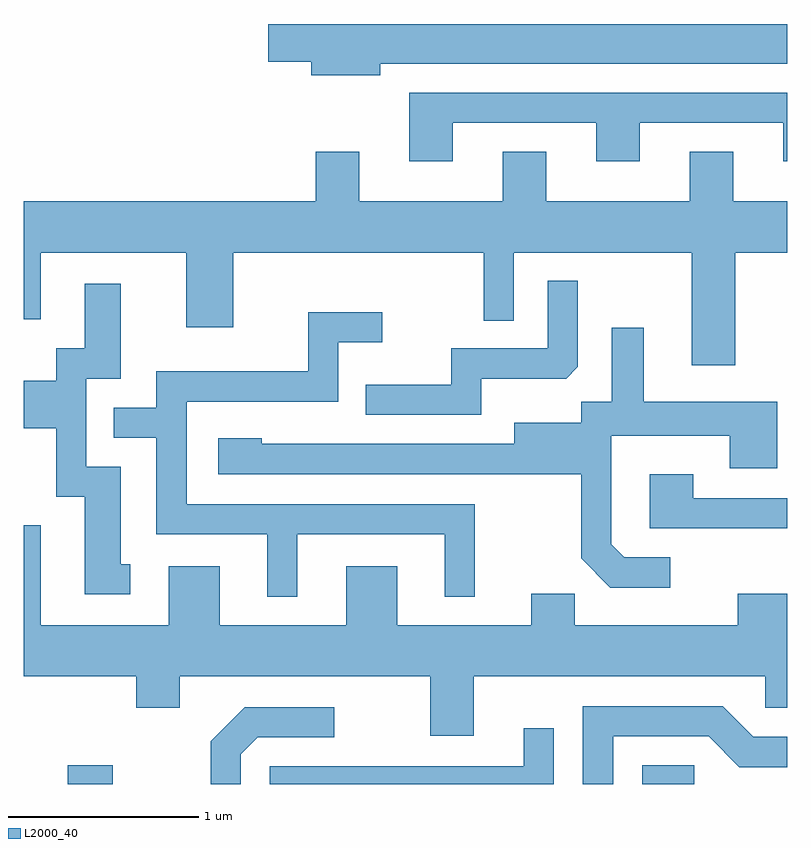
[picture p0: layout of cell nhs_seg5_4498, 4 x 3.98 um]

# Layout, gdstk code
import gdstk
lib = gdstk.Library(unit=1e-6, precision=1e-09)
def R(c, l, rs):  # rectangles x0, y0, x1, y1
    for r in rs: c.add(gdstk.rectangle(r[:2], r[2:], *l))
def P(c, l, *ps):  # polygons
    for p in ps: c.add(gdstk.Polygon(p, *l))
L2000_40 = (2000, 40)

nhs_seg5_4498 = lib.new_cell('nhs_seg5_4498')
R(nhs_seg5_4498, L2000_40, [(319.841,1394.072,320.078,1394.169), (322.851,1394.072,323.123,1394.169)])
P(nhs_seg5_4498, L2000_40, [(321.479,1397.846),(323.611,1397.846),(323.611,1398.054),(320.891,1398.054),(320.891,1397.856),(321.116,1397.856),(321.116,1397.786),(321.479,1397.786)],
  [(321.859,1397.536),(322.611,1397.536),(322.611,1397.336),(322.839,1397.336),(322.839,1397.536),(323.591,1397.536),(323.591,1397.336),(323.611,1397.336),(323.611,1397.694),(321.631,1397.694),(321.631,1397.336),(321.859,1397.336)],
  [(323.339,1396.856),(323.611,1396.856),(323.611,1397.124),(323.329,1397.124),(323.329,1397.384),(323.101,1397.384),(323.101,1397.124),(322.349,1397.124),(322.349,1397.384),(322.121,1397.384),(322.121,1397.124),(321.369,1397.124),(321.369,1397.384),(321.141,1397.384),(321.141,1397.124),(319.611,1397.124),(319.611,1396.506),(319.699,1396.506),(319.699,1396.856),(320.461,1396.856),(320.461,1396.466),(320.709,1396.466),(320.709,1396.856),(322.021,1396.856),(322.021,1396.498),(322.179,1396.498),(322.179,1396.856),(323.111,1396.856),(323.111,1396.266),(323.339,1396.266)],
  [(322.009,1396.196),(322.454,1396.196),(322.514,1396.257),(322.514,1396.708),(322.356,1396.708),(322.356,1396.354),(321.851,1396.354),(321.851,1396.164),(321.403,1396.164),(321.403,1396.006),(322.009,1396.006)],
  [(320.168,1395.224),(320.119,1395.224),(320.119,1395.734),(319.939,1395.734),(319.939,1396.196),(320.119,1396.196),(320.119,1396.694),(319.931,1396.694),(319.931,1396.354),(319.781,1396.354),(319.781,1396.184),(319.611,1396.184),(319.611,1395.936),(319.781,1395.936),(319.781,1395.576),(319.931,1395.576),(319.931,1395.066),(320.168,1395.066)],
  [(321.044,1395.381),(321.816,1395.381),(321.816,1395.053),(321.974,1395.053),(321.974,1395.539),(320.464,1395.539),(320.464,1396.076),(321.259,1396.076),(321.259,1396.386),(321.488,1396.386),(321.488,1396.544),(321.101,1396.544),(321.101,1396.234),(320.306,1396.234),(320.306,1396.044),(320.083,1396.044),(320.083,1395.886),(320.306,1395.886),(320.306,1395.381),(320.886,1395.381),(320.886,1395.053),(321.044,1395.053)],
  [(322.998,1395.259),(322.757,1395.259),(322.689,1395.327),(322.689,1395.896),(323.311,1395.896),(323.311,1395.726),(323.559,1395.726),(323.559,1396.074),(322.859,1396.074),(322.859,1396.463),(322.691,1396.463),(322.691,1396.074),(322.531,1396.074),(322.531,1395.964),(322.181,1395.964),(322.181,1395.854),(320.859,1395.854),(320.859,1395.884),(320.631,1395.884),(320.631,1395.696),(322.531,1395.696),(322.531,1395.254),(322.684,1395.101),(322.998,1395.101)],
  [(323.611,1395.569),(323.119,1395.569),(323.119,1395.694),(322.891,1395.694),(322.891,1395.411),(323.611,1395.411)],
  [(321.969,1394.636),(323.496,1394.636),(323.496,1394.471),(323.611,1394.471),(323.611,1395.069),(323.351,1395.069),(323.351,1394.904),(322.499,1394.904),(322.499,1395.069),(322.271,1395.069),(322.271,1394.904),(321.569,1394.904),(321.569,1395.214),(321.301,1395.214),(321.301,1394.904),(320.639,1394.904),(320.639,1395.214),(320.371,1395.214),(320.371,1394.904),(319.699,1394.904),(319.699,1395.429),(319.611,1395.429),(319.611,1394.636),(320.201,1394.636),(320.201,1394.471),(320.429,1394.471),(320.429,1394.636),(321.741,1394.636),(321.741,1394.326),(321.969,1394.326)],
  [(322.699,1394.321),(323.199,1394.321),(323.359,1394.161),(323.611,1394.161),(323.611,1394.319),(323.432,1394.319),(323.272,1394.479),(322.541,1394.479),(322.541,1394.072),(322.699,1394.072)],
  [(320.749,1394.229),(320.837,1394.316),(321.238,1394.316),(321.238,1394.474),(320.769,1394.474),(320.591,1394.297),(320.591,1394.072),(320.749,1394.072)],
  [(322.389,1394.363),(322.231,1394.363),(322.231,1394.164),(320.901,1394.164),(320.901,1394.072),(322.389,1394.072)])

lib.write_gds('nhs_seg5_4498.gds')
